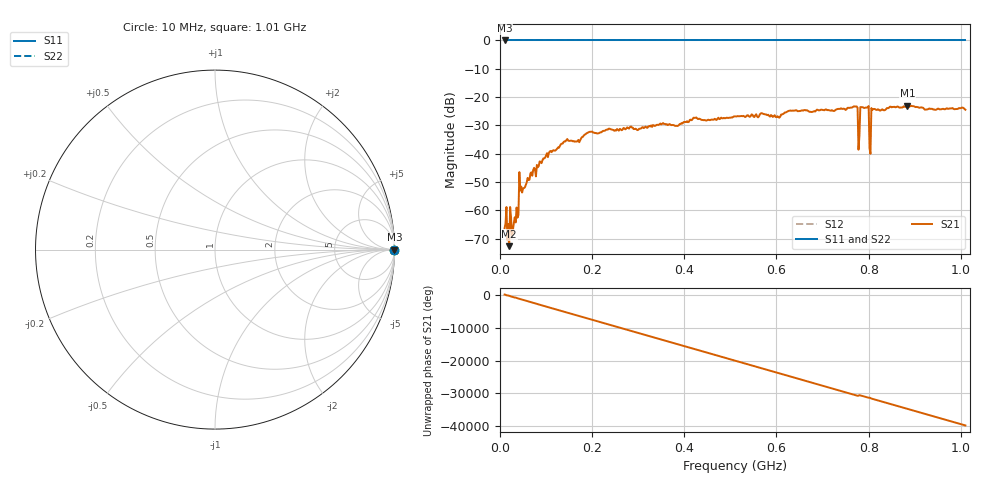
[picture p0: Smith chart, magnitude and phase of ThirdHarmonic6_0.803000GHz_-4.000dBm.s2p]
! 8/16/2025 2:45:35 AM
! C:\ANRITSUVNA\TEMP\TEMP.S2P
! CHANNEL.1
! TR.MEASUREMENT
! RAW.DATA
! RF.CORRECTION.OFF
! AVERAGING.OFF
! IF.BANDWIDTH: 5KHZ
! SWEEPTYPE:  FREQ.SWEEP(Linear)
! Reference Plane Port Info
! PORT:  PORT1  PORT2
! DISTANCE:  0  m  0  m
! TIME:  0  s  0  s
! PHASE.OFFSET:  0  deg.  0  deg.
! LOSS:  0  dB  0  dB
! REF.LOSS:  0  dB  0  dB
! REF.FREQ:  0  Hz  0  Hz
! Power Info
! POWER:  -20  dBm  -20  dBm
! EFF.POWER:  -20  dBm  -20  dBm
! SOURCE.ATTEN:  0  dB  0  dB
! TEST.ATTEN:  0  dB  0  dB
# GHZ S RI R 50.0
! FREQ.GHZ  S11RE  S11IM  S21RE  S21IM  S12RE  S12IM  S22RE  S22IM
!; PortSelection: Port_12
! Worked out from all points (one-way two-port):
!   501 points, 10 MHz to 1.01 GHz, reference 50 ohm
!   highest |S21| = -23.02 dB at 884 MHz (marker M1); lowest = -72.7 dB at 20 MHz (marker M2)
!   lowest |S11| = 0.0 dB at 10 MHz (marker M3)
!   |S11| at or under -10 dB: nowhere
!   |S22| runs from 0.0 to 0.0 dB; largest |S21 - S12| = 1.1
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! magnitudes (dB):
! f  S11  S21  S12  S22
! 10 MHz  0.0  -66.3  0.0  0.0
! 20 MHz  0.0  -72.7  0.0  0.0
! 30 MHz  0.0  -64.5  0.0  0.0
! 46 MHz  0.0  -51.6  0.0  0.0
! 52 MHz  0.0  -52.2  0.0  0.0
! 70 MHz  0.0  -47.8  0.0  0.0
! 142 MHz  0.0  -35.7  0.0  0.0
! 178 MHz  0.0  -34.2  0.0  0.0
! 344 MHz  0.0  -29.9  0.0  0.0
! 510 MHz  0.0  -26.8  0.0  0.0
! 678 MHz  0.0  -25.2  0.0  0.0
! 772 MHz  0.0  -23.3  0.0  0.0
! 776 MHz  0.0  -23.8  0.0  0.0
! 780 MHz  0.0  -33.8  0.0  0.0
! 786 MHz  0.0  -23.6  0.0  0.0
! 796 MHz  0.0  -23.7  0.0  0.0
! 800 MHz  0.0  -23.2  0.0  0.0
! 806 MHz  0.0  -23.9  0.0  0.0
! 810 MHz  0.0  -24.3  0.0  0.0
! 844 MHz  0.0  -23.8  0.0  0.0
! 884 MHz  0.0  -23.0  0.0  0.0
! 1.01 GHz  0.0  -24.5  0.0  0.0
